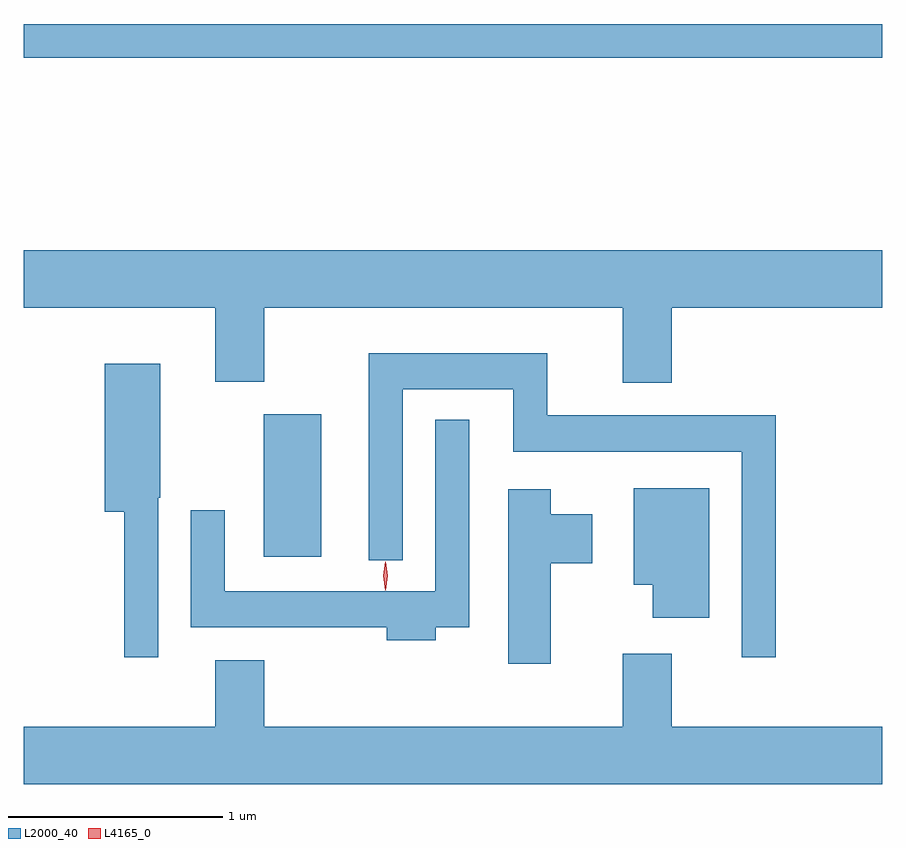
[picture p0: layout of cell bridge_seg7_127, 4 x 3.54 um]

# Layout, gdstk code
import gdstk
lib = gdstk.Library(unit=1e-6, precision=1e-09)
def R(c, l, rs):  # rectangles x0, y0, x1, y1
    for r in rs: c.add(gdstk.rectangle(r[:2], r[2:], *l))
def P(c, l, *ps):  # polygons
    for p in ps: c.add(gdstk.Polygon(p, *l))
L2000_40 = (2000, 40)
L4165_0 = (4165, 0)

bridge_seg7_127 = lib.new_cell('bridge_seg7_127')
R(bridge_seg7_127, L2000_40, [(1555.776,1788.636,1556.044,1789.299), (1554.659,1790.961,1558.659,1791.119)])
P(bridge_seg7_127, L2000_40, [(1557.679,1789.796),(1558.659,1789.796),(1558.659,1790.064),(1554.659,1790.064),(1554.659,1789.796),(1555.551,1789.796),(1555.551,1789.451),(1555.779,1789.451),(1555.779,1789.796),(1557.451,1789.796),(1557.451,1789.446),(1557.679,1789.446)],
  [(1558.164,1789.294),(1557.099,1789.294),(1557.099,1789.584),(1556.266,1789.584),(1556.266,1788.618),(1556.424,1788.618),(1556.424,1789.416),(1556.941,1789.416),(1556.941,1789.126),(1558.006,1789.126),(1558.006,1788.168),(1558.164,1788.168)],
  [(1555.284,1788.91),(1555.294,1788.91),(1555.294,1789.534),(1555.036,1789.534),(1555.036,1788.846),(1555.126,1788.846),(1555.126,1788.168),(1555.284,1788.168)],
  [(1556.579,1788.306),(1556.734,1788.306),(1556.734,1789.273),(1556.576,1789.273),(1556.576,1788.474),(1555.594,1788.474),(1555.594,1788.853),(1555.436,1788.853),(1555.436,1788.306),(1556.351,1788.306),(1556.351,1788.246),(1556.579,1788.246)],
  [(1557.854,1788.954),(1557.501,1788.954),(1557.501,1788.506),(1557.591,1788.506),(1557.591,1788.351),(1557.854,1788.351)],
  [(1557.114,1788.606),(1557.309,1788.606),(1557.309,1788.834),(1557.114,1788.834),(1557.114,1788.949),(1556.916,1788.949),(1556.916,1788.136),(1557.114,1788.136)],
  [(1558.659,1787.844),(1557.679,1787.844),(1557.679,1788.184),(1557.451,1788.184),(1557.451,1787.844),(1555.779,1787.844),(1555.779,1788.154),(1555.551,1788.154),(1555.551,1787.844),(1554.659,1787.844),(1554.659,1787.576),(1558.659,1787.576)])
P(bridge_seg7_127, L4165_0, [(1556.345,1788.479),(1556.344,1788.48),(1556.335,1788.546),(1556.344,1788.612),(1556.345,1788.613),(1556.345,1788.612),(1556.355,1788.546),(1556.345,1788.48)])

lib.write_gds('bridge_seg7_127.gds')
